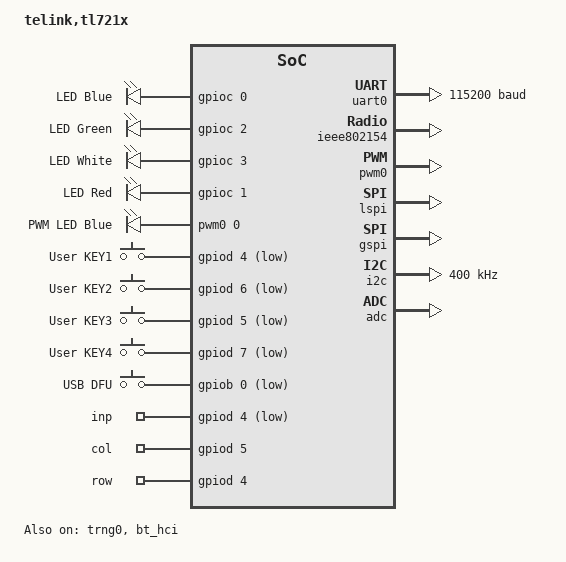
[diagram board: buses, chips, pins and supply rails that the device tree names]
/*
 * Copyright (c) 2024 Telink Semiconductor
 *
 * SPDX-License-Identifier: Apache-2.0
 */

/dts-v1/;

#include <freq.h>
#include <telink/telink_tl721x.dtsi>
#include "tl7218x-pinctrl.dtsi"

/ {
	model = "telink,tl721x";
	compatible = "telink,tl7218x";

	aliases {
		led0 = &led_blue;
		led1 = &led_green;
		led2 = &led_white;
		led3 = &led_red;
		sw0 = &key_1;
		sw1 = &key_2;
		sw2 = &key_3;
		sw3 = &key_4;
		pwm-led0 = &pwm_led_blue;
		pwm-0 = &pwm0;
		watchdog0 = &wdt;
		mcuboot-button0 = &key_dfu;
		mcuboot-led0 = &led_blue;
	};

	leds {
		compatible = "gpio-leds";

		led_blue: led_0 {
			gpios = <&gpioc 0 GPIO_ACTIVE_HIGH>;
			label = "LED Blue";
		};

		led_green: led_1 {
			gpios = <&gpioc 2 GPIO_ACTIVE_HIGH>;
			label = "LED Green";
		};

		led_white: led_2 {
			gpios = <&gpioc 3 GPIO_ACTIVE_HIGH>;
			label = "LED White";
		};

		led_red: led_3 {
			gpios = <&gpioc 1 GPIO_ACTIVE_HIGH>;
			label = "LED Red";
		};
	};

	pwm_leds {
		compatible = "pwm-leds";

		pwm_led_blue: pwm_led_0 {
			pwms = <&pwm0 0 PWM_MSEC(20) PWM_POLARITY_NORMAL>;
			label = "PWM LED Blue";
		};
	};

	keys {
		compatible = "gpio-keys";
		key_1: button_1 {
			label = "User KEY1";
			gpios = <&gpiod 4 (GPIO_ACTIVE_LOW | GPIO_PULL_UP)>;
		};
		key_2: button_2 {
			label = "User KEY2";
			gpios = <&gpiod 6 (GPIO_ACTIVE_LOW | GPIO_PULL_UP)>;
		};
		key_3: button_3 {
			label = "User KEY3";
			gpios = <&gpiod 5 (GPIO_ACTIVE_LOW | GPIO_PULL_UP)>;
		};
		key_4: button_4 {
			label = "User KEY4";
			gpios = <&gpiod 7 (GPIO_ACTIVE_LOW | GPIO_PULL_UP)>;
		};
		key_dfu: button_dfu {
			label = "USB DFU";
			gpios = <&gpiob 0 (GPIO_ACTIVE_LOW | GPIO_PULL_UP)>;
		};
	};

	/* Short TL_Key3 (J6 pin 31) to ground */
	key_pool {
		compatible = "gpio-keys";

		inp {
			gpios = <&gpiod 4 (GPIO_ACTIVE_LOW | GPIO_PULL_UP)>,
				<&gpiod 6 (GPIO_ACTIVE_LOW | GPIO_PULL_UP)>;
		};
	};

	key_matrix {
		compatible = "gpio-keys";

		col {
			gpios = <&gpiod 5 GPIO_ACTIVE_HIGH>,
				<&gpiod 7 GPIO_ACTIVE_HIGH>;
		};

		row {
			gpios = <&gpiod 4 (GPIO_PULL_DOWN | GPIO_ACTIVE_HIGH)>,
				<&gpiod 6 (GPIO_PULL_DOWN | GPIO_ACTIVE_HIGH)>;
		};
	};

	chosen {
		zephyr,console = &uart0;
		zephyr,shell-uart = &uart0;
		zephyr,sram = &ram_dlm;
		zephyr,flash = &flash;
		zephyr,flash-controller = &flash_mspi;
		zephyr,entropy = &trng0;
		zephyr,code-partition = &slot0_partition;
		zephyr,ieee802154 = &ieee802154;
		zephyr,bt-hci = &bt_hci;
	};
};

&cpu0 {
	clock-frequency = <60000000>;
};

&ram_ilm {
	reg = <0x00040000 0x00040000>;
};

&ram_dlm {
	reg = <0x00080000 0x00040000>;
};

&flash {
	reg = <0x20000000 0x100000>;

	partitions {
		compatible = "fixed-partitions";
		#address-cells = <1>;
		#size-cells = <1>;

		boot_partition: partition@0 {
			label = "mcuboot";
			reg = <0x00000000 0x20000>;
		};
		slot0_partition: partition@20000 {
			label = "image-0";
			reg = <0x20000 0x68000>;
		};
		slot1_partition: partition@88000 {
			label = "image-1";
			reg = <0x88000 0x68000>;
		};
		scratch_partition: partition@f0000 {
			label = "image-scratch";
			reg = <0xf0000 0x4000>;
		};
		storage_partition: partition@f4000 {
			label = "storage";
			reg = <0xf4000 0x0000a000>;
		};

		/* region <0xfe000 0x2000> is used for Telink TLx RF parameters */
		/* For 1M MCU - the partition address is 0xfe000 */
		/* For 2M MCU - the partition address is 0x1fe000 */
		/* For 4M MCU - the partition address is 0x3fe000 */
		/* For 16M MCU - the partition address is 0xffe000 */
		vendor_partition: partition@fe000 {
			label = "vendor-data";
			reg = <0xfe000 0x2000>;
		};
	};
};

&gpiob {
	status = "okay";
};

&gpioc {
	status = "okay";
};

&gpiod {
	interrupts = <25 1>;
	status = "okay";
};

&gpioe {
	status = "okay";
};

&gpiof {
	interrupts = <26 1>;
	status = "okay";
};

&gpiog {
	status = "okay";
};

&uart0 {
	status = "okay";
	current-speed = <115200>;
	pinctrl-0 = <&uart0_tx_pb2_default &uart0_rx_pb3_default>;
	pinctrl-names = "default";
};

&trng0 {
	status = "okay";
};

&ieee802154 {
	status = "okay";
};

&pwm0 {
	status = "okay";
	clock-frequency = <300000>;
	pinctrl-ch0 = <&pwm_ch0_pb7_default>;
};

&lspi {
	status = "okay";
	cs0-pin = "LSPI_CSN_PE0_PIN";
	pinctrl-0 = <&lspi_clk_pe1_default &lspi_miso_pe3_default &lspi_mosi_pe2_default>;
	pinctrl-names = "default";
};

&gspi {
	status = "okay";
	cs0-pin = "GPIO_PF3";
	pinctrl-0 = <&gspi_clk_pf4_default &gspi_miso_pf6_default &gspi_mosi_pf7_default>;
	pinctrl-names = "default";
};

&i2c {
	status = "okay";
	clock-frequency = <I2C_BITRATE_FAST>;
	pinctrl-0 = <&i2c_scl_pe6_default &i2c_sda_pe7_default>;
	pinctrl-names = "default";
};

&adc {
	status = "okay";
	vref-internal-mv = <1200>;
	sample-freq = <DT_FREQ_K(96)>;
	pinctrl-0 = <&adc_pb1_default>;
	pinctrl-names = "default";
};

&bt_hci {
	status = "okay";
};
